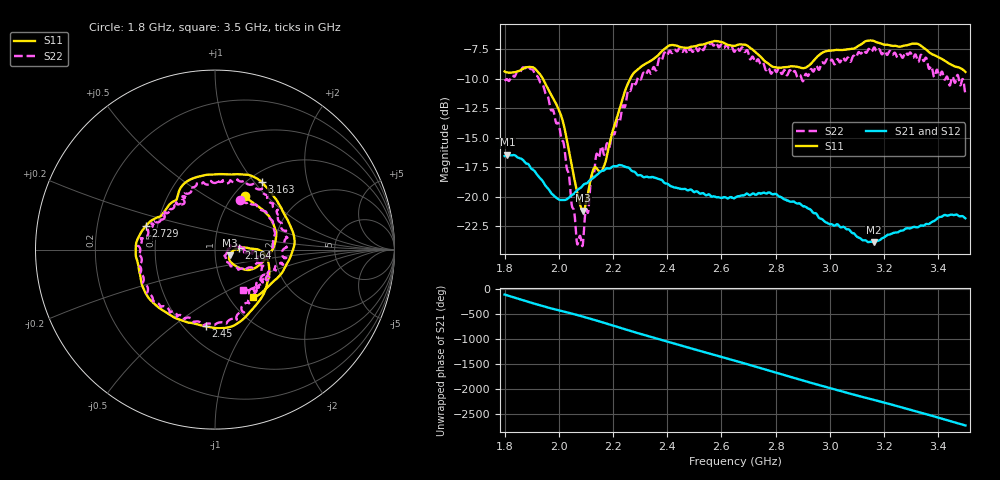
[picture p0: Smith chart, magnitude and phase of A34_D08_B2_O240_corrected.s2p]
! Created with skrf 1.9.0 (http://scikit-rf.org).
# Hz S RI R 50.0
!freq ReS11 ImS11 ReS21 ImS21 ReS12 ImS12 ReS22 ImS22
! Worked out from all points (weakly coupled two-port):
!   1601 points, 1.8 GHz to 3.5 GHz, reference 50 ohm
!   highest |S21| = -16.45 dB at 1.811 GHz (marker M1); lowest = -23.9 dB at 3.161 GHz (marker M2)
!   lowest |S11| = -21.2 dB at 2.09 GHz (marker M3), VSWR 1.19, Z = 58.7 - j3.76 ohm
!   |S11| at or under -10 dB: 1.941 GHz to 2.263 GHz (322.1 MHz wide, 15.3 % of centre)
!   |S22| runs from -24.2 to -6.9 dB; largest |S21 - S12| = 0.0028
!   S11 on the Smith chart (normalised r, x): 1.8 GHz: 1.13, +0.76; 2.164 GHz: 1.30, +0.02; 2.45 GHz: 0.63, -0.66; 2.729 GHz: 0.43, +0.14; 3.163 GHz: 1.16, +1.10; 3.5 GHz: 1.27, -0.76
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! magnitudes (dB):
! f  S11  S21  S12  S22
! 1.8 GHz  -9.4  -16.6  -16.6  -10.2
! 1.811 GHz  -9.5  -16.5  -16.5  -10.1
! 1.886 GHz  -9.0  -17.2  -17.3  -8.9
! 1.941 GHz  -10.0  -18.7  -18.7  -10.5
! 2.011 GHz  -13.3  -20.3  -20.3  -15.2
! 2.066 GHz  -19.4  -19.5  -19.5  -23.7
! 2.084 GHz  -21.0  -19.2  -19.1  -23.9
! 2.09 GHz  -21.2  -19.0  -19.1  -23.7
! 2.136 GHz  -17.5  -18.2  -18.2  -16.8
! 2.164 GHz  -17.5  -17.8  -17.8  -16.3
! 2.261 GHz  -10.1  -17.6  -17.6  -11.0
! 2.367 GHz  -8.0  -18.5  -18.5  -8.5
! 2.45 GHz  -7.3  -19.4  -19.3  -7.5
! 2.65 GHz  -7.2  -20.1  -20.1  -7.7
! 2.729 GHz  -7.8  -19.8  -19.9  -8.6
! 2.798 GHz  -9.0  -19.8  -19.8  -9.3
! 2.934 GHz  -8.6  -21.2  -21.2  -9.2
! 3.161 GHz  -6.8  -23.9  -23.8  -7.4
! 3.163 GHz  -6.8  -23.9  -23.8  -7.3
! 3.217 GHz  -7.1  -23.2  -23.2  -7.7
! 3.342 GHz  -7.3  -22.5  -22.5  -8.3
! 3.5 GHz  -9.4  -21.8  -21.8  -11.3
